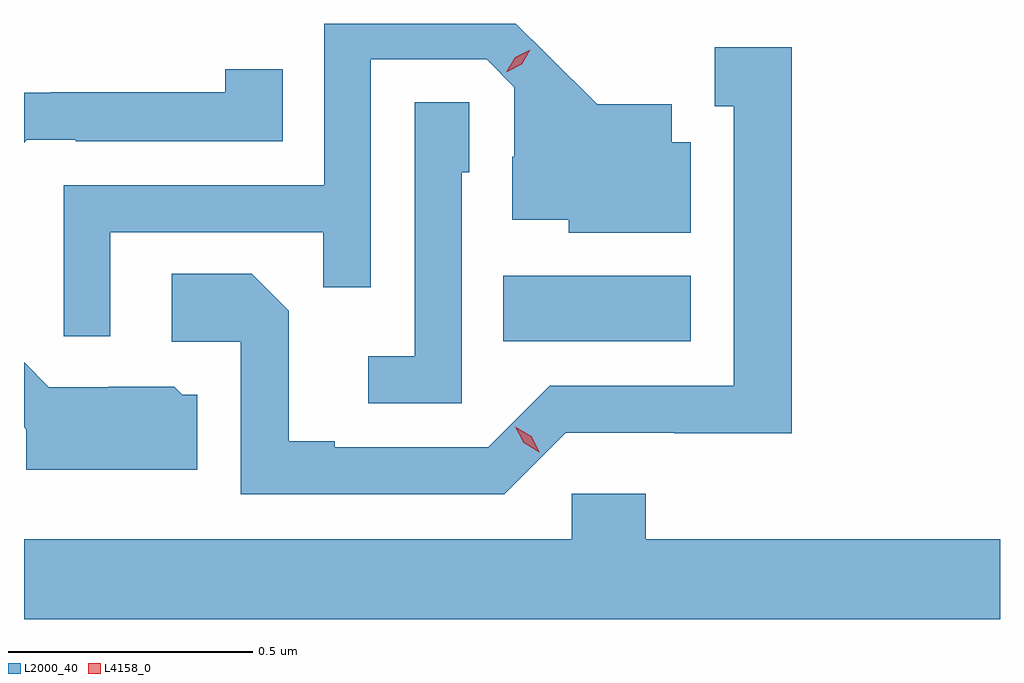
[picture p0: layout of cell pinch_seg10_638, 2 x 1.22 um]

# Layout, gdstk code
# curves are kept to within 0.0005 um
import gdstk
lib = gdstk.Library(unit=1e-6, precision=1e-09)
def R(c, l, rs):  # rectangles x0, y0, x1, y1
    for r in rs: c.add(gdstk.rectangle(r[:2], r[2:], *l))
def P(c, l, *ps):  # polygons
    for p in ps: c.add(gdstk.Polygon(p, *l))
L2000_40 = (2000, 40)
L4158_0 = (4158, 0)

pinch_seg10_638 = lib.new_cell('pinch_seg10_638')
R(pinch_seg10_638, L2000_40, [(362.92,1286.234,363.304,1286.368)])
P(pinch_seg10_638, L2000_40, [(362.115,1286.457),(362.551,1286.457),(362.551,1286.344),(362.649,1286.344),(362.649,1286.811),(362.886,1286.811),(362.943,1286.754),(362.943,1286.612),(362.939,1286.612),(362.939,1286.483),(363.054,1286.483),(363.054,1286.456),(363.304,1286.456),(363.304,1286.641),(363.265,1286.641),(363.265,1286.719),(363.113,1286.719),(362.946,1286.884),(362.553,1286.884),(362.553,1286.553),(362.019,1286.553),(362.019,1286.244),(362.115,1286.244)],
  [(363.048,1286.046),(363.27,1286.046),(363.27,1286.045),(363.511,1286.045),(363.511,1286.836),(363.353,1286.836),(363.353,1286.715),(363.392,1286.715),(363.392,1286.142),(363.015,1286.142),(362.889,1286.016),(362.575,1286.016),(362.575,1286.029),(362.481,1286.029),(362.481,1286.296),(362.405,1286.372),(362.241,1286.372),(362.241,1286.232),(362.382,1286.232),(362.382,1285.92),(362.922,1285.92)],
  [(361.944,1286.646),(362.044,1286.646),(362.044,1286.643),(362.468,1286.643),(362.468,1286.791),(362.35,1286.791),(362.35,1286.744),(361.993,1286.744),(361.993,1286.743),(361.938,1286.743),(361.938,1286.64)],
  [(362.835,1286.58),(362.85,1286.58),(362.85,1286.723),(362.739,1286.723),(362.739,1286.203),(362.643,1286.203),(362.643,1286.106),(362.835,1286.106)],
  [(362.293,1286.124),(362.262,1286.124),(362.246,1286.14),(362.112,1286.14),(362.112,1286.139),(361.989,1286.139),(361.938,1286.19),(361.938,1286.057),(361.943,1286.052),(361.943,1285.97),(362.293,1285.97)],
  [(363.938,1285.828),(363.212,1285.828),(363.212,1285.921),(363.06,1285.921),(363.06,1285.828),(361.938,1285.828),(361.938,1285.664),(363.938,1285.664)])
P(pinch_seg10_638, L4158_0, [(362.994,1286.006),(362.962,1286.026),(362.945,1286.058),(362.945,1286.058),(362.945,1286.058),(362.977,1286.039),(362.994,1286.007),(362.994,1286.006)],
  [(362.927,1286.786),(362.927,1286.787),(362.945,1286.816),(362.975,1286.831),(362.975,1286.831),(362.975,1286.831),(362.958,1286.801),(362.928,1286.786)])

lib.write_gds('pinch_seg10_638.gds')
